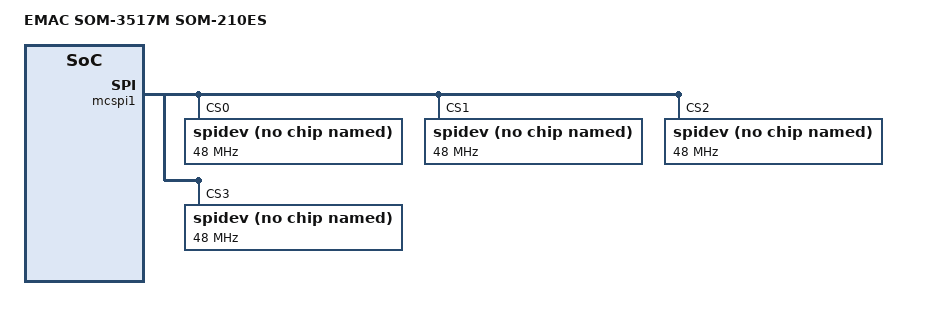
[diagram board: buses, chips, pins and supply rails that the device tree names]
/*
 * som-3517-210es.dts - Device Tree file for the SOM-3517M with SOM-210ES. 
 *
 * Copyright (C) 2017 EMAC Inc.
 *
 * This program is free software; you can redistribute it and/or modify
 * it under the terms of the GNU General Public License version 2 as
 * published by the Free Software Foundation.
 */

/dts-v1/;

#include "som-3517.dtsi"

/ {
	model = "EMAC SOM-3517M SOM-210ES";
};

&mcspi1 {
	spidev@0 {
		compatible = "emac,spidev";
		spi-max-frequency = <48000000>;
		reg = <0>;
	};

	spidev@1 {
		compatible = "emac,spidev";
		spi-max-frequency = <48000000>;
		reg = <1>;
	};

	spidev@2 {
		compatible = "emac,spidev";
		spi-max-frequency = <48000000>;
		reg = <2>;
	};

	spidev@3 {
		compatible = "emac,spidev";
		spi-max-frequency = <48000000>;
		reg = <3>;
	};
};

